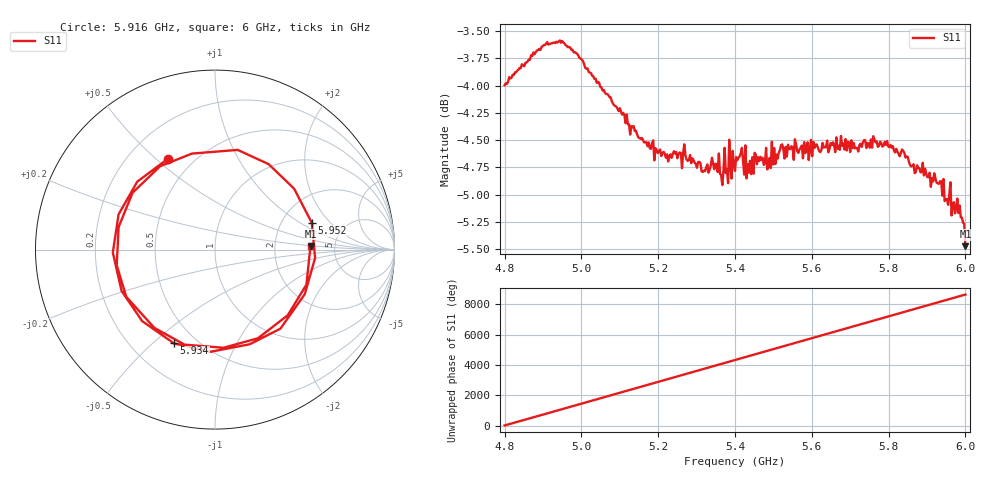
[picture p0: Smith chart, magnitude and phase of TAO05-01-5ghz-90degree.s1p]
! NanoVNA-App
! Date: 2026-05-22 15:31:10
! Start: 4.8GHz Stop: 6GHz Points: 401
! S-Parameter data: F S11
# Hz S RI R 50
!  Frequency  S11_Real  S11_Imag
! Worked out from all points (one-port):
!   401 points, 4.8 GHz to 6 GHz, reference 50 ohm
!   lowest |S11| = -5.5 dB at 6 GHz (marker M1), VSWR 3.28, Z = 163 + j9.23 ohm
!   |S11| at or under -10 dB: nowhere
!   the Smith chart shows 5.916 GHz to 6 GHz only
!   S11 on the Smith chart (normalised r, x): 5.916 GHz: 0.37, +0.55; 5.934 GHz: 0.38, -0.59; 5.952 GHz: 2.93, +1.27; 6 GHz: 3.27, +0.18
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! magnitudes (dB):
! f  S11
! 4.8 GHz  -4.0
! 4.905 GHz  -3.6
! 4.95 GHz  -3.6
! 4.995 GHz  -3.7
! 5.1 GHz  -4.2
! 5.127 GHz  -4.4
! 5.196 GHz  -4.6
! 5.25 GHz  -4.7
! 5.319 GHz  -4.8
! 5.346 GHz  -4.8
! 5.364 GHz  -4.8
! 5.4 GHz  -4.8
! 5.421 GHz  -4.7
! 5.436 GHz  -4.8
! 5.457 GHz  -4.7
! 5.487 GHz  -4.7
! 5.52 GHz  -4.5
! 5.55 GHz  -4.6
! 5.7 GHz  -4.6
! 5.766 GHz  -4.5
! 5.85 GHz  -4.7
! 5.916 GHz  -4.9
! 5.934 GHz  -4.9
! 5.952 GHz  -5.0
! 5.955 GHz  -5.1
! 5.97 GHz  -5.1
! 5.985 GHz  -5.1
! 6 GHz  -5.5
